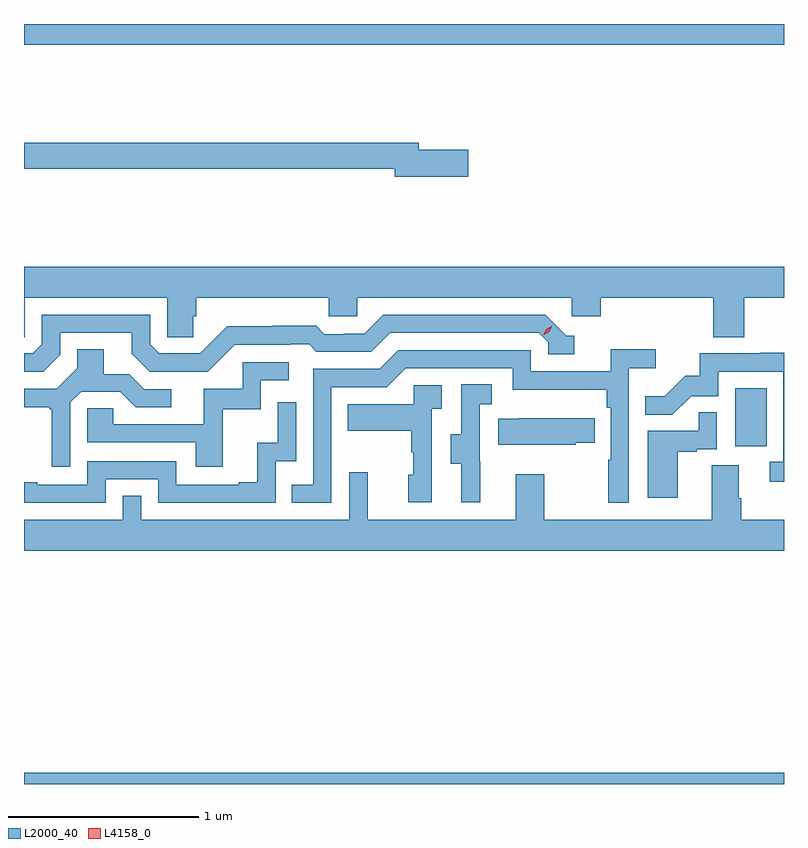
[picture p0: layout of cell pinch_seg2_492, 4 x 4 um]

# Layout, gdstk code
import gdstk
lib = gdstk.Library(unit=1e-6, precision=1e-09)
def R(c, l, rs):  # rectangles x0, y0, x1, y1
    for r in rs: c.add(gdstk.rectangle(r[:2], r[2:], *l))
def P(c, l, *ps):  # polygons
    for p in ps: c.add(gdstk.Polygon(p, *l))
L2000_40 = (2000, 40)
L4158_0 = (4158, 0)

pinch_seg2_492 = lib.new_cell('pinch_seg2_492')
R(pinch_seg2_492, L2000_40, [(958.82,583.805,962.82,583.864), (962.564,585.582,962.728,585.889), (958.82,587.696,962.82,587.805)])
P(pinch_seg2_492, L2000_40, [(961.159,587.144),(960.898,587.144),(960.898,587.18),(958.82,587.18),(958.82,587.044),(960.77,587.044),(960.77,587.002),(961.159,587.002)],
  [(958.824,586.364),(959.574,586.364),(959.574,586.156),(959.711,586.156),(959.711,586.266),(959.726,586.266),(959.726,586.364),(960.423,586.364),(960.423,586.266),(960.573,586.266),(960.573,586.364),(961.704,586.364),(961.704,586.266),(961.856,586.266),(961.856,586.364),(962.447,586.364),(962.447,586.156),(962.612,586.156),(962.612,586.364),(962.82,586.364),(962.82,586.528),(958.82,586.528),(958.82,586.156),(958.824,586.156)],
  [(959.01,586.065),(959.01,586.179),(959.387,586.179),(959.387,586.069),(959.481,585.975),(959.787,585.975),(959.928,586.116),(960.221,586.116),(960.221,586.119),(960.32,586.119),(960.359,586.08),(960.648,586.08),(960.747,586.179),(961.53,586.179),(961.578,586.131),(961.578,586.068),(961.717,586.068),(961.717,586.164),(961.674,586.164),(961.563,586.275),(960.71,586.275),(960.611,586.176),(960.504,586.176),(960.504,586.173),(960.401,586.173),(960.359,586.216),(960.126,586.216),(960.126,586.213),(959.89,586.213),(959.748,586.071),(959.532,586.071),(959.484,586.119),(959.484,586.275),(958.914,586.275),(958.914,586.119),(958.866,586.071),(958.82,586.071),(958.82,585.975),(958.92,585.975)],
  [(959.064,585.813),(959.121,585.87),(959.327,585.87),(959.408,585.789),(959.596,585.789),(959.596,585.882),(959.454,585.882),(959.374,585.962),(959.239,585.962),(959.239,586.094),(959.099,586.094),(959.099,585.992),(958.992,585.885),(958.82,585.885),(958.82,585.788),(958.956,585.788),(958.956,585.777),(958.967,585.777),(958.967,585.474),(959.064,585.474)],
  [(960.438,585.894),(960.729,585.894),(960.828,585.993),(961.392,585.993),(961.392,585.881),(961.888,585.881),(961.888,585.785),(961.908,585.785),(961.908,585.512),(961.896,585.512),(961.896,585.285),(962.004,585.285),(962.004,585.992),(962.146,585.992),(962.146,586.094),(961.907,586.094),(961.907,585.978),(961.488,585.978),(961.488,586.089),(960.791,586.089),(960.692,585.99),(960.342,585.99),(960.342,585.381),(960.229,585.381),(960.229,585.285),(960.438,585.285)],
  [(962.82,586.076),(962.695,586.076),(962.695,586.071),(962.377,586.071),(962.377,585.954),(962.3,585.954),(962.193,585.847),(962.089,585.847),(962.089,585.748),(962.233,585.748),(962.331,585.846),(962.475,585.846),(962.475,585.975),(962.817,585.975),(962.817,585.501),(962.745,585.501),(962.745,585.396),(962.82,585.396)],
  [(959.867,585.777),(960.066,585.777),(960.066,585.93),(960.214,585.93),(960.214,586.026),(959.97,586.026),(959.97,585.885),(959.765,585.885),(959.765,585.699),(959.291,585.699),(959.291,585.783),(959.154,585.783),(959.154,585.603),(959.723,585.603),(959.723,585.474),(959.867,585.474)],
  [(961.22,585.501),(961.218,585.501),(961.218,585.805),(961.282,585.805),(961.282,585.908),(961.122,585.908),(961.122,585.645),(961.067,585.645),(961.067,585.49),(961.121,585.49),(961.121,585.288),(961.22,585.288)],
  [(960.966,585.779),(961.018,585.779),(961.018,585.903),(960.87,585.903),(960.87,585.805),(960.523,585.805),(960.523,585.665),(960.858,585.665),(960.858,585.551),(960.868,585.551),(960.868,585.432),(960.842,585.432),(960.842,585.288),(960.966,585.288)],
  [(959.25,585.408),(959.526,585.408),(959.526,585.285),(960.144,585.285),(960.144,585.504),(960.252,585.504),(960.252,585.814),(960.156,585.814),(960.156,585.602),(960.047,585.602),(960.047,585.394),(959.951,585.394),(959.951,585.381),(959.622,585.381),(959.622,585.504),(959.154,585.504),(959.154,585.381),(958.891,585.381),(958.891,585.394),(958.82,585.394),(958.82,585.285),(959.25,585.285)],
  [(962.26,585.555),(962.36,585.555),(962.36,585.567),(962.466,585.567),(962.466,585.761),(962.371,585.761),(962.371,585.663),(962.102,585.663),(962.102,585.312),(962.26,585.312)],
  [(961.725,585.601),(961.823,585.601),(961.823,585.73),(961.423,585.73),(961.423,585.727),(961.315,585.727),(961.315,585.59),(961.725,585.59)],
  [(962.82,585.196),(962.594,585.196),(962.594,585.308),(962.581,585.308),(962.581,585.482),(962.441,585.482),(962.441,585.196),(961.557,585.196),(961.557,585.436),(961.409,585.436),(961.409,585.196),(960.629,585.196),(960.629,585.445),(960.531,585.445),(960.531,585.196),(959.436,585.196),(959.436,585.323),(959.34,585.323),(959.34,585.196),(958.82,585.196),(958.82,585.032),(962.82,585.032)])
P(pinch_seg2_492, L4158_0, [(961.553,586.166),(961.553,586.166),(961.569,586.199),(961.599,586.218),(961.6,586.218),(961.6,586.218),(961.584,586.186),(961.553,586.166)])

lib.write_gds('pinch_seg2_492.gds')
